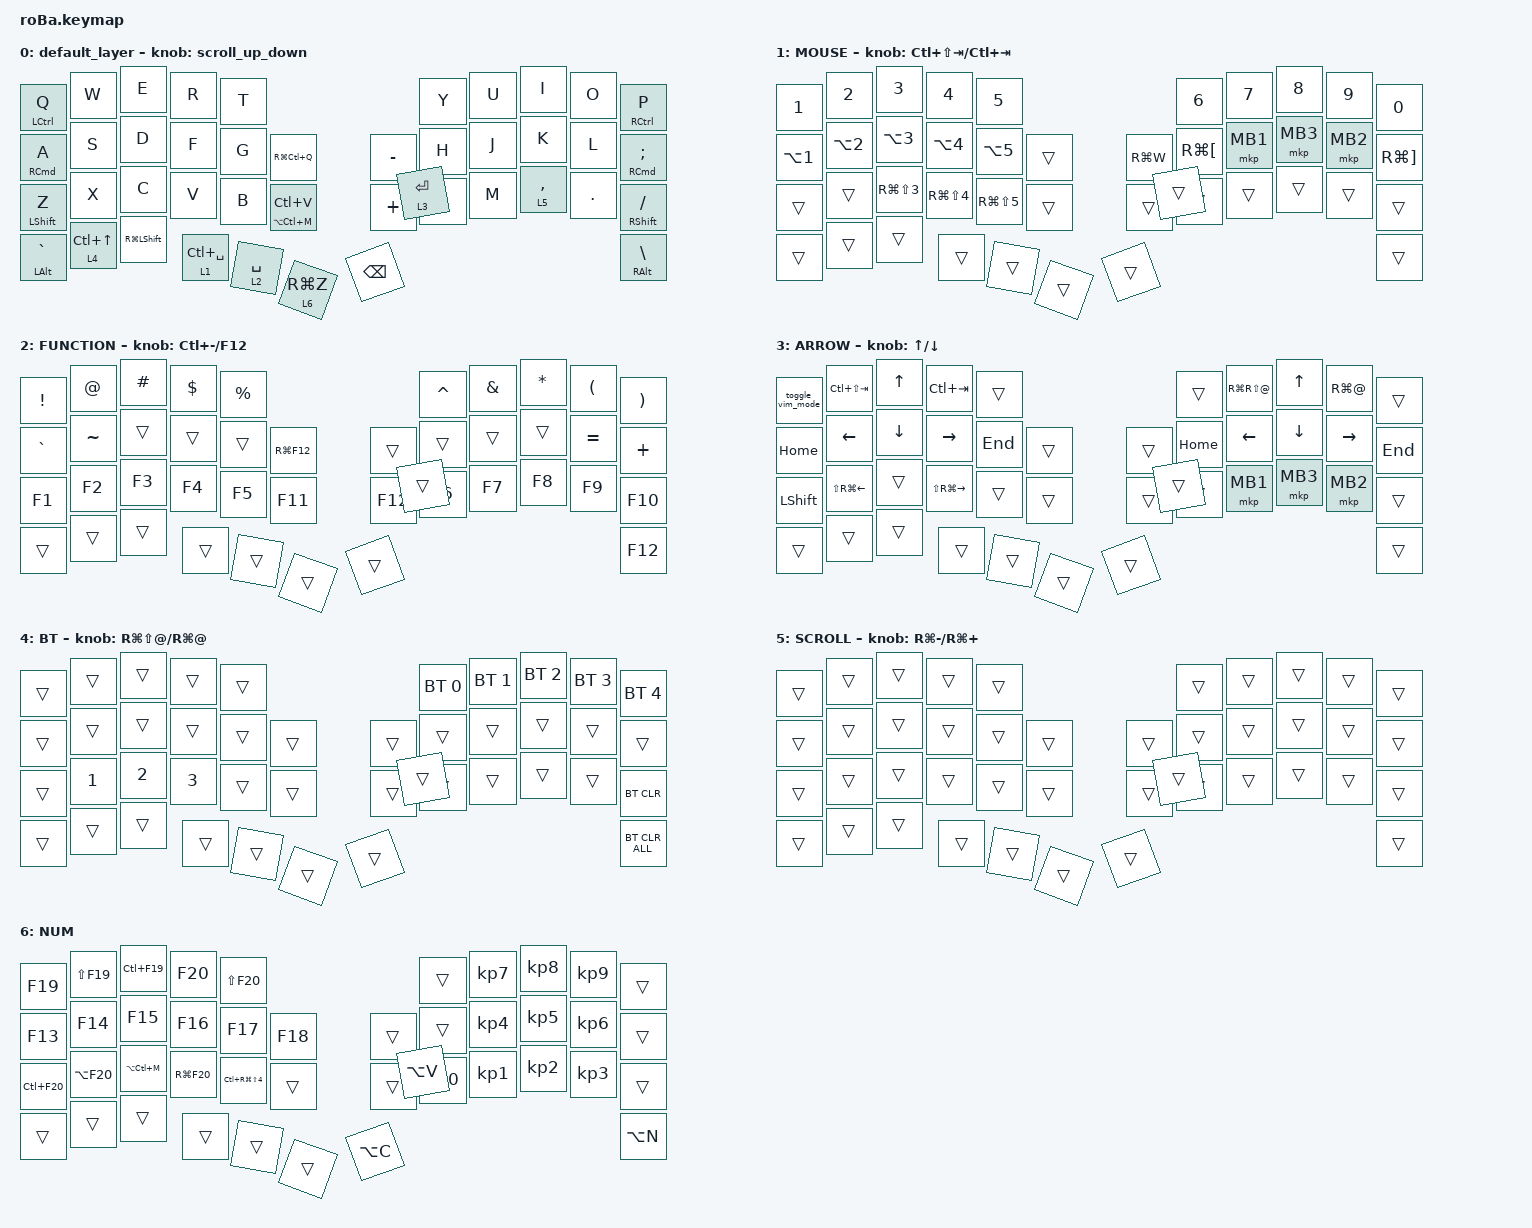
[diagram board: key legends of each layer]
#include <behaviors.dtsi>
#include <dt-bindings/zmk/bt.h>
#include <dt-bindings/zmk/keys.h>
#include <dt-bindings/zmk/pointing.h>

#define ZMK_POINTING_DEFAULT_SCRL_VAL 80

&mt {
    flavor = "balanced";
    quick-tap-ms = <0>;
};

&trackball {
    // automouse-layer = <1>;

    scroll-layers = <5>;

    // arrows {
    //     layers = <3>;
    //     bindings =
    //         <&kp RIGHT_ARROW>,
    //         <&kp LEFT_ARROW>,
    //         <&kp UP_ARROW>,
    //         <&kp DOWN_ARROW>;
    //     tick = <10>;
    //     wait-ms = <5>;
    //     tap-ms = <5>;
    // };
};

/ {
    combos {
        compatible = "zmk,combos";

        tab {
            bindings = <&kp TAB>;
            key-positions = <13 12>;
        };

        shift_tab {
            bindings = <&kp LS(TAB)>;
            key-positions = <11 12>;
        };

        double_quotation {
            bindings = <&kp DOUBLE_QUOTES>;
            key-positions = <20 19>;
        };

        single_quotation {
            bindings = <&kp SINGLE_QUOTE>;
            key-positions = <19 18>;
        };

        left_bracket {
            bindings = <&kp LEFT_BRACKET>;
            key-positions = <6 7>;
        };

        right_bracket {
            bindings = <&kp RIGHT_BRACKET>;
            key-positions = <8 7>;
        };
    };

    macros {
        to_layer_0: to_layer_0 {
            compatible = "zmk,behavior-macro-one-param";
            #binding-cells = <1>;
            bindings = <&to 0 &macro_param_1to1 &kp MACRO_PLACEHOLDER>;
            label = "TO_LAYER_0";
        };

        toggle_vim_mode: toggleVimMode {
            compatible = "zmk,behavior-macro";
            #binding-cells = <0>;
            bindings = <&kp ESC &kp LANGUAGE_2>;
            label = "TOGGLEVIMMODE";
        };
    };

    behaviors {
        lt_to_layer_0: lt_to_layer_0 {
            compatible = "zmk,behavior-hold-tap";
            label = "LAYER_TAP_TO_0";
            bindings = <&mo>, <&to_layer_0>;

            #binding-cells = <2>;
            tapping-term-ms = <200>;
        };

        scroll_up_down: behavior_sensor_rotate_mouse_wheel_up_down {
            compatible = "zmk,behavior-sensor-rotate";
            #sensor-binding-cells = <0>;
            bindings = <&msc SCRL_DOWN>, <&msc SCRL_UP>;

            tap-ms = <20>;
        };
    };

    keymap {
        compatible = "zmk,keymap";

        default_layer {
            bindings = <
&mt LEFT_CONTROL Q   &kp W               &kp E               &kp R                       &kp T                                                &kp Y        &kp U  &kp I        &kp O    &mt RIGHT_CONTROL P
&mt RIGHT_COMMAND A  &kp S               &kp D               &kp F                       &kp G        &kp RG(LC(Q))            &kp MINUS      &kp H        &kp J  &kp K        &kp L    &mt RIGHT_COMMAND SEMI
&mt LEFT_SHIFT Z     &kp X               &kp C               &kp V                       &kp B        &mt LA(LC(M)) LC(V)      &kp PLUS       &kp N        &kp M  &lt 5 COMMA  &kp DOT  &mt RIGHT_SHIFT SLASH
&mt LEFT_ALT GRAVE   &lt 4 LC(UP_ARROW)  &kp RG(LEFT_SHIFT)  &lt_to_layer_0 1 LC(SPACE)  &lt 2 SPACE  &lt 6 RG(Z)              &kp BACKSPACE  &lt 3 ENTER                               &mt RIGHT_ALT BACKSLASH
            >;

            sensor-bindings = <&scroll_up_down>;
        };

        MOUSE {
            bindings = <
&kp N1      &kp N2      &kp N3          &kp N4          &kp N5                                 &kp N6                &kp N7    &kp N8    &kp N9    &kp N0
&kp LA(N1)  &kp LA(N2)  &kp LA(N3)      &kp LA(N4)      &kp LA(N5)      &trans      &kp RG(W)  &kp RG(LEFT_BRACKET)  &mkp MB1  &mkp MB3  &mkp MB2  &kp RG(RIGHT_BRACKET)
&trans      &trans      &kp RG(LS(N3))  &kp RG(LS(N4))  &kp RG(LS(N5))  &trans      &trans     &trans                &trans    &trans    &trans    &trans
&trans      &trans      &trans          &trans          &trans          &trans      &trans     &trans                                              &trans
            >;

            sensor-bindings = <&inc_dec_kp LC(LS(TAB)) LC(TAB)>;
        };

        FUNCTION {
            bindings = <
&kp EXCLAMATION  &kp AT     &kp POUND  &kp DOLLAR  &kp PERCENT                            &kp CARET  &kp AMPERSAND  &kp STAR  &kp LEFT_PARENTHESIS  &kp RIGHT_PARENTHESIS
&kp GRAVE        &kp TILDE  &trans     &trans      &trans       &kp RG(F12)      &trans   &trans     &trans         &trans    &kp EQUAL             &kp PLUS
&kp F1           &kp F2     &kp F3     &kp F4      &kp F5       &kp F11          &kp F12  &kp F6     &kp F7         &kp F8    &kp F9                &kp F10
&trans           &trans     &trans     &trans      &trans       &trans           &trans   &trans                                                    &kp F12
            >;

            sensor-bindings = <&inc_dec_kp LC(MINUS) F12>;
        };

        ARROW {
            bindings = <
&toggle_vim_mode  &kp LC(LS(TAB))         &kp UP_ARROW    &kp LC(TAB)              &trans                       &trans    &kp RG(RS(AT))  &kp UP_ARROW    &kp RG(AT)       &trans
&kp HOME          &kp LEFT_ARROW          &kp DOWN_ARROW  &kp RIGHT_ARROW          &kp END  &trans      &trans  &kp HOME  &kp LEFT_ARROW  &kp DOWN_ARROW  &kp RIGHT_ARROW  &kp END
&kp LEFT_SHIFT    &kp LS(RG(LEFT_ARROW))  &trans          &kp LS(RG(RIGHT_ARROW))  &trans   &trans      &trans  &trans    &mkp MB1        &mkp MB3        &mkp MB2         &trans
&trans            &trans                  &trans          &trans                   &trans   &trans      &trans  &trans                                                     &trans
            >;

            sensor-bindings = <&inc_dec_kp UP_ARROW DOWN_ARROW>;
        };

        BT {
            bindings = <
&trans  &trans        &trans        &trans        &trans                      &bt BT_SEL 0  &bt BT_SEL 1  &bt BT_SEL 2  &bt BT_SEL 3  &bt BT_SEL 4
&trans  &trans        &trans        &trans        &trans  &trans      &trans  &trans        &trans        &trans        &trans        &trans
&trans  &kp NUMBER_1  &kp NUMBER_2  &kp NUMBER_3  &trans  &trans      &trans  &trans        &trans        &trans        &trans        &bt BT_CLR
&trans  &trans        &trans        &trans        &trans  &trans      &trans  &trans                                                  &bt BT_CLR_ALL
            >;

            sensor-bindings = <&inc_dec_kp RG(LS(AT_SIGN)) RG(AT_SIGN)>;
        };

        SCROLL {
            bindings = <
&trans  &trans  &trans  &trans  &trans                      &trans  &trans  &trans  &trans  &trans
&trans  &trans  &trans  &trans  &trans  &trans      &trans  &trans  &trans  &trans  &trans  &trans
&trans  &trans  &trans  &trans  &trans  &trans      &trans  &trans  &trans  &trans  &trans  &trans
&trans  &trans  &trans  &trans  &trans  &trans      &trans  &trans                          &trans
            >;

            sensor-bindings = <&inc_dec_kp RG(MINUS) RG(PLUS)>;
        };

        NUM {
            bindings = <
&kp F19      &kp LS(F19)  &kp LC(F19)    &kp F20      &kp LS(F20)                                 &trans           &kp KP_NUMBER_7  &kp KP_NUMBER_8  &kp KP_NUMBER_9  &trans
&kp F13      &kp F14      &kp F15        &kp F16      &kp F17             &kp F18      &trans     &trans           &kp KP_NUMBER_4  &kp KP_NUMBER_5  &kp KP_NUMBER_6  &trans
&kp LC(F20)  &kp LA(F20)  &kp LA(LC(M))  &kp RG(F20)  &kp LC(RG(LS(N4)))  &trans       &trans     &kp KP_NUMBER_0  &kp KP_NUMBER_1  &kp KP_NUMBER_2  &kp KP_NUMBER_3  &trans
&trans       &trans       &trans         &trans       &trans              &trans       &kp LA(C)  &kp LA(V)                                                           &kp LA(N)
            >;
        };
    };
};
